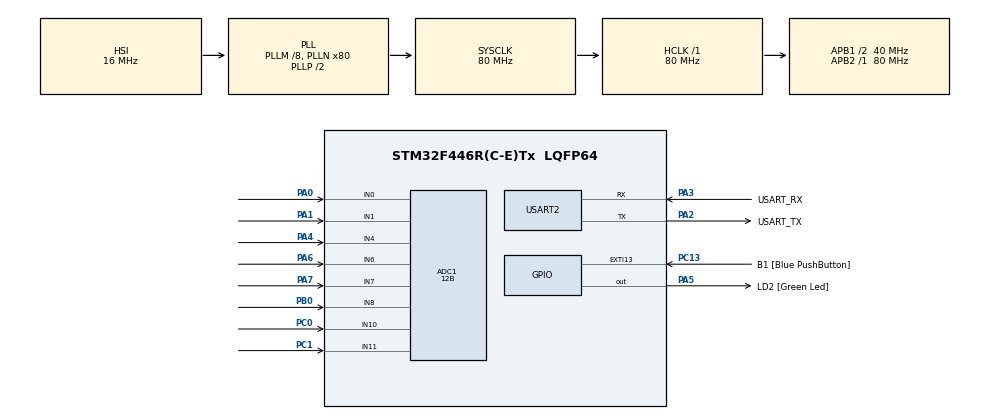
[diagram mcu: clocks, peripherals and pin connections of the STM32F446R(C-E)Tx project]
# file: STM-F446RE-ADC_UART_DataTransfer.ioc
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ADC1.Channel-0\#ChannelRegularConversion=ADC_CHANNEL_0
ADC1.Channel-1\#ChannelRegularConversion=ADC_CHANNEL_1
ADC1.Channel-2\#ChannelRegularConversion=ADC_CHANNEL_4
ADC1.Channel-3\#ChannelRegularConversion=ADC_CHANNEL_6
ADC1.Channel-4\#ChannelRegularConversion=ADC_CHANNEL_7
ADC1.Channel-5\#ChannelRegularConversion=ADC_CHANNEL_8
ADC1.Channel-6\#ChannelRegularConversion=ADC_CHANNEL_10
ADC1.Channel-7\#ChannelRegularConversion=ADC_CHANNEL_11
ADC1.ClockPrescaler=ADC_CLOCK_SYNC_PCLK_DIV4
ADC1.ContinuousConvMode=ENABLE
ADC1.DMAContinuousRequests=ENABLE
ADC1.EOCSelection=ADC_EOC_SINGLE_CONV
ADC1.NbrOfConversion=8
ADC1.NbrOfConversionFlag=1
ADC1.Rank-0\#ChannelRegularConversion=1
ADC1.Rank-1\#ChannelRegularConversion=2
ADC1.Rank-2\#ChannelRegularConversion=3
ADC1.Rank-3\#ChannelRegularConversion=4
ADC1.Rank-4\#ChannelRegularConversion=5
ADC1.Rank-5\#ChannelRegularConversion=6
ADC1.Rank-6\#ChannelRegularConversion=7
ADC1.Rank-7\#ChannelRegularConversion=8
ADC1.Resolution=ADC_RESOLUTION_12B
ADC1.SamplingTime-0\#ChannelRegularConversion=ADC_SAMPLETIME_28CYCLES
ADC1.SamplingTime-1\#ChannelRegularConversion=ADC_SAMPLETIME_28CYCLES
ADC1.SamplingTime-2\#ChannelRegularConversion=ADC_SAMPLETIME_28CYCLES
ADC1.SamplingTime-3\#ChannelRegularConversion=ADC_SAMPLETIME_28CYCLES
ADC1.SamplingTime-4\#ChannelRegularConversion=ADC_SAMPLETIME_28CYCLES
ADC1.SamplingTime-5\#ChannelRegularConversion=ADC_SAMPLETIME_28CYCLES
ADC1.SamplingTime-6\#ChannelRegularConversion=ADC_SAMPLETIME_28CYCLES
ADC1.SamplingTime-7\#ChannelRegularConversion=ADC_SAMPLETIME_28CYCLES
ADC1.master=1
Dma.ADC1.0.Direction=DMA_PERIPH_TO_MEMORY
Dma.ADC1.0.FIFOMode=DMA_FIFOMODE_DISABLE
Dma.ADC1.0.Instance=DMA2_Stream0
Dma.ADC1.0.MemDataAlignment=DMA_MDATAALIGN_HALFWORD
Dma.ADC1.0.MemInc=DMA_MINC_ENABLE
Dma.ADC1.0.Mode=DMA_CIRCULAR
Dma.ADC1.0.PeriphDataAlignment=DMA_PDATAALIGN_HALFWORD
Dma.ADC1.0.PeriphInc=DMA_PINC_DISABLE
Dma.ADC1.0.Priority=DMA_PRIORITY_LOW
Dma.Request0=ADC1
Mcu.Family=STM32F4
Mcu.Name=STM32F446R(C-E)Tx
Mcu.Package=LQFP64
NVIC.ADC_IRQn=true\:0\:0\:false\:false\:true\:true\:true\:true
NVIC.DMA2_Stream0_IRQn=true\:0\:0\:false\:false\:true\:false\:true\:true
NVIC.PriorityGroup=NVIC_PRIORITYGROUP_0
PA0-WKUP.Signal=ADCx_IN0
PA1.Signal=ADCx_IN1
PA13.GPIO_Label=TMS
PA13.Mode=Serial_Wire
PA13.Signal=SYS_JTMS-SWDIO
PA14.GPIO_Label=TCK
PA14.Mode=Serial_Wire
PA14.Signal=SYS_JTCK-SWCLK
PA2.GPIO_Label=USART_TX
PA2.Mode=Asynchronous
PA2.Signal=USART2_TX
PA3.GPIO_Label=USART_RX
PA3.Mode=Asynchronous
PA3.Signal=USART2_RX
PA4.Signal=ADCx_IN4
PA5.GPIO_Label=LD2 [Green Led]
PA5.Signal=GPIO_Output
PA6.Signal=ADCx_IN6
PA7.Signal=ADCx_IN7
PB0.Signal=ADCx_IN8
PB3.GPIO_Label=SWO
PB3.Signal=SYS_JTDO-SWO
PC0.Signal=ADCx_IN10
PC1.Signal=ADCx_IN11
PC13.GPIO_Label=B1 [Blue PushButton]
PC13.GPIO_ModeDefaultEXTI=GPIO_MODE_IT_FALLING
PC13.Signal=GPXTI13
PC14-OSC32_IN.Mode=LSE-External-Oscillator
PC14-OSC32_IN.Signal=RCC_OSC32_IN
PC15-OSC32_OUT.Mode=LSE-External-Oscillator
PC15-OSC32_OUT.Signal=RCC_OSC32_OUT
PH0-OSC_IN.Mode=HSE-External-Oscillator
PH0-OSC_IN.Signal=RCC_OSC_IN
PH1-OSC_OUT.Mode=HSE-External-Oscillator
PH1-OSC_OUT.Signal=RCC_OSC_OUT
ProjectManager.HeapSize=0x200
ProjectManager.StackSize=0x400
ProjectManager.TargetToolchain=Makefile
RCC.48MHZClocksFreq_Value=84000000
RCC.AHBFreq_Value=80000000
RCC.APB1CLKDivider=RCC_HCLK_DIV2
RCC.APB1Freq_Value=40000000
RCC.APB1TimFreq_Value=80000000
RCC.APB2Freq_Value=80000000
RCC.APB2TimFreq_Value=80000000
RCC.CortexFreq_Value=80000000
RCC.FLatency-AdvancedSettings=FLASH_LATENCY_2
RCC.HCLKFreq_Value=80000000
RCC.HSE_VALUE=8000000
RCC.HSI_VALUE=16000000
RCC.PLLM=8
RCC.PLLN=80
RCC.SYSCLKFreq_VALUE=80000000
RCC.SYSCLKSource=RCC_SYSCLKSOURCE_PLLCLK
RCC.USBFreq_Value=80000000
RCC.VCOOutputFreq_Value=160000000
SH.ADCx_IN0.0=ADC1_IN0,IN0
SH.ADCx_IN1.0=ADC1_IN1,IN1
SH.ADCx_IN10.0=ADC1_IN10,IN10
SH.ADCx_IN11.0=ADC1_IN11,IN11
SH.ADCx_IN4.0=ADC1_IN4,IN4
SH.ADCx_IN6.0=ADC1_IN6,IN6
SH.ADCx_IN7.0=ADC1_IN7,IN7
SH.ADCx_IN8.0=ADC1_IN8,IN8
USART2.VirtualMode=VM_ASYNC
board=NUCLEO-F446RE

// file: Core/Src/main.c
/* USER CODE BEGIN Header */
/**
  ******************************************************************************
  * @file           : main.c
  * @brief          : Main program body
  ******************************************************************************
  * @attention
  *
  * Copyright (c) 2023 STMicroelectronics.
  * All rights reserved.
  *
  * This software is licensed under terms that can be found in the LICENSE file
  * in the root directory of this software component.
  * If no LICENSE file comes with this software, it is provided AS-IS.
  *
  ******************************************************************************
  */
/* USER CODE END Header */
#include "main.h"

ADC_HandleTypeDef hadc1;
DMA_HandleTypeDef hdma_adc1;

UART_HandleTypeDef huart2;

void SystemClock_Config(void);
static void MX_GPIO_Init(void);
static void MX_DMA_Init(void);
static void MX_ADC1_Init(void);
static void MX_USART2_UART_Init(void);

/* USER CODE BEGIN 0 */
#include <stdio.h>
#include <string.h>

#define NUM_ADC_INPUTS 8

char data[80];
#define ADC_BUF_LEN 4096
uint16_t adc_buf[ADC_BUF_LEN];

/* USER CODE END 0 */

int main(void)
{

  /* MCU Configuration--------------------------------------------------------*/

  /* Reset of all peripherals, Initializes the Flash interface and the Systick. */
  HAL_Init();

  /* Configure the system clock */
  SystemClock_Config();

  /* Initialize all configured peripherals */
  MX_GPIO_Init();
  MX_DMA_Init();
  MX_ADC1_Init();
  MX_USART2_UART_Init();
  /* USER CODE BEGIN 2 */

  HAL_ADC_Start_DMA(&hadc1, (uint32_t*) adc_buf, ADC_BUF_LEN);
  /* USER CODE END 2 */

  /* Infinite loop */
  while (1)
  {

  }
}

void SystemClock_Config(void)
{
  RCC_OscInitTypeDef RCC_OscInitStruct = {0};
  RCC_ClkInitTypeDef RCC_ClkInitStruct = {0};

  /** Configure the main internal regulator output voltage
  */
  __HAL_RCC_PWR_CLK_ENABLE();
  __HAL_PWR_VOLTAGESCALING_CONFIG(PWR_REGULATOR_VOLTAGE_SCALE3);

  /** Initializes the RCC Oscillators according to the specified parameters
  * in the RCC_OscInitTypeDef structure.
  */
  RCC_OscInitStruct.OscillatorType = RCC_OSCILLATORTYPE_HSI;
  RCC_OscInitStruct.HSIState = RCC_HSI_ON;
  RCC_OscInitStruct.HSICalibrationValue = RCC_HSICALIBRATION_DEFAULT;
  RCC_OscInitStruct.PLL.PLLState = RCC_PLL_ON;
  RCC_OscInitStruct.PLL.PLLSource = RCC_PLLSOURCE_HSI;
  RCC_OscInitStruct.PLL.PLLM = 8;
  RCC_OscInitStruct.PLL.PLLN = 80;
  RCC_OscInitStruct.PLL.PLLP = RCC_PLLP_DIV2;
  RCC_OscInitStruct.PLL.PLLQ = 2;
  RCC_OscInitStruct.PLL.PLLR = 2;
  if (HAL_RCC_OscConfig(&RCC_OscInitStruct) != HAL_OK)
  {
    Error_Handler();
  }

  /** Initializes the CPU, AHB and APB buses clocks
  */
  RCC_ClkInitStruct.ClockType = RCC_CLOCKTYPE_HCLK|RCC_CLOCKTYPE_SYSCLK
                              |RCC_CLOCKTYPE_PCLK1|RCC_CLOCKTYPE_PCLK2;
  RCC_ClkInitStruct.SYSCLKSource = RCC_SYSCLKSOURCE_PLLCLK;
  RCC_ClkInitStruct.AHBCLKDivider = RCC_SYSCLK_DIV1;
  RCC_ClkInitStruct.APB1CLKDivider = RCC_HCLK_DIV2;
  RCC_ClkInitStruct.APB2CLKDivider = RCC_HCLK_DIV1;

  if (HAL_RCC_ClockConfig(&RCC_ClkInitStruct, FLASH_LATENCY_2) != HAL_OK)
  {
    Error_Handler();
  }
}

static void MX_ADC1_Init(void)
{

  ADC_ChannelConfTypeDef sConfig = {0};

  /** Configure the global features of the ADC (Clock, Resolution, Data Alignment and number of conversion)
  */
  hadc1.Instance = ADC1;
  hadc1.Init.ClockPrescaler = ADC_CLOCK_SYNC_PCLK_DIV4;
  hadc1.Init.Resolution = ADC_RESOLUTION_12B;
  hadc1.Init.ScanConvMode = ENABLE;
  hadc1.Init.ContinuousConvMode = ENABLE;
  hadc1.Init.DiscontinuousConvMode = DISABLE;
  hadc1.Init.ExternalTrigConvEdge = ADC_EXTERNALTRIGCONVEDGE_NONE;
  hadc1.Init.ExternalTrigConv = ADC_SOFTWARE_START;
  hadc1.Init.DataAlign = ADC_DATAALIGN_RIGHT;
  hadc1.Init.NbrOfConversion = 8;
  hadc1.Init.DMAContinuousRequests = ENABLE;
  hadc1.Init.EOCSelection = ADC_EOC_SINGLE_CONV;
  if (HAL_ADC_Init(&hadc1) != HAL_OK)
  {
    Error_Handler();
  }

  /** Configure for the selected ADC regular channel its corresponding rank in the sequencer and its sample time.
  */
  sConfig.Channel = ADC_CHANNEL_0;
  sConfig.Rank = 1;
  sConfig.SamplingTime = ADC_SAMPLETIME_28CYCLES;
  if (HAL_ADC_ConfigChannel(&hadc1, &sConfig) != HAL_OK)
  {
    Error_Handler();
  }

  /** Configure for the selected ADC regular channel its corresponding rank in the sequencer and its sample time.
  */
  sConfig.Channel = ADC_CHANNEL_1;
  sConfig.Rank = 2;
  if (HAL_ADC_ConfigChannel(&hadc1, &sConfig) != HAL_OK)
  {
    Error_Handler();
  }

  /** Configure for the selected ADC regular channel its corresponding rank in the sequencer and its sample time.
  */
  sConfig.Channel = ADC_CHANNEL_4;
  sConfig.Rank = 3;
  if (HAL_ADC_ConfigChannel(&hadc1, &sConfig) != HAL_OK)
  {
    Error_Handler();
  }

  /** Configure for the selected ADC regular channel its corresponding rank in the sequencer and its sample time.
  */
  sConfig.Channel = ADC_CHANNEL_6;
  sConfig.Rank = 4;
  if (HAL_ADC_ConfigChannel(&hadc1, &sConfig) != HAL_OK)
  {
    Error_Handler();
  }

  /** Configure for the selected ADC regular channel its corresponding rank in the sequencer and its sample time.
  */
  sConfig.Channel = ADC_CHANNEL_7;
  sConfig.Rank = 5;
  if (HAL_ADC_ConfigChannel(&hadc1, &sConfig) != HAL_OK)
  {
    Error_Handler();
  }

  /** Configure for the selected ADC regular channel its corresponding rank in the sequencer and its sample time.
  */
  sConfig.Channel = ADC_CHANNEL_8;
  sConfig.Rank = 6;
  if (HAL_ADC_ConfigChannel(&hadc1, &sConfig) != HAL_OK)
  {
    Error_Handler();
  }

  /** Configure for the selected ADC regular channel its corresponding rank in the sequencer and its sample time.
  */
  sConfig.Channel = ADC_CHANNEL_10;
  sConfig.Rank = 7;
  if (HAL_ADC_ConfigChannel(&hadc1, &sConfig) != HAL_OK)
  {
    Error_Handler();
  }

  /** Configure for the selected ADC regular channel its corresponding rank in the sequencer and its sample time.
  */
  sConfig.Channel = ADC_CHANNEL_11;
  sConfig.Rank = 8;
  if (HAL_ADC_ConfigChannel(&hadc1, &sConfig) != HAL_OK)
  {
    Error_Handler();
  }

}

static void MX_USART2_UART_Init(void)
{

  huart2.Instance = USART2;
  huart2.Init.BaudRate = 115200;
  huart2.Init.WordLength = UART_WORDLENGTH_8B;
  huart2.Init.StopBits = UART_STOPBITS_1;
  huart2.Init.Parity = UART_PARITY_NONE;
  huart2.Init.Mode = UART_MODE_TX_RX;
  huart2.Init.HwFlowCtl = UART_HWCONTROL_NONE;
  huart2.Init.OverSampling = UART_OVERSAMPLING_16;
  if (HAL_UART_Init(&huart2) != HAL_OK)
  {
    Error_Handler();
  }

}

static void MX_DMA_Init(void)
{

  /* DMA controller clock enable */
  __HAL_RCC_DMA2_CLK_ENABLE();

  /* DMA interrupt init */
  /* DMA2_Stream0_IRQn interrupt configuration */
  HAL_NVIC_SetPriority(DMA2_Stream0_IRQn, 0, 0);
  HAL_NVIC_EnableIRQ(DMA2_Stream0_IRQn);

}

static void MX_GPIO_Init(void)
{
  GPIO_InitTypeDef GPIO_InitStruct = {0};

  /* GPIO Ports Clock Enable */
  __HAL_RCC_GPIOC_CLK_ENABLE();
  __HAL_RCC_GPIOH_CLK_ENABLE();
  __HAL_RCC_GPIOA_CLK_ENABLE();
  __HAL_RCC_GPIOB_CLK_ENABLE();

  /*Configure GPIO pin Output Level */
  HAL_GPIO_WritePin(LD2_GPIO_Port, LD2_Pin, GPIO_PIN_RESET);

  /*Configure GPIO pin : B1_Pin */
  GPIO_InitStruct.Pin = B1_Pin;
  GPIO_InitStruct.Mode = GPIO_MODE_IT_FALLING;
  GPIO_InitStruct.Pull = GPIO_NOPULL;
  HAL_GPIO_Init(B1_GPIO_Port, &GPIO_InitStruct);

  /*Configure GPIO pin : LD2_Pin */
  GPIO_InitStruct.Pin = LD2_Pin;
  GPIO_InitStruct.Mode = GPIO_MODE_OUTPUT_PP;
  GPIO_InitStruct.Pull = GPIO_NOPULL;
  GPIO_InitStruct.Speed = GPIO_SPEED_FREQ_LOW;
  HAL_GPIO_Init(LD2_GPIO_Port, &GPIO_InitStruct);

}

/* USER CODE BEGIN 4 */

uint8_t it = 0;

uint32_t it_adc_buf = 0;

void HAL_ADC_ConvCpltCallback(ADC_HandleTypeDef* hadc)
{
  /* Prevent unused argument(s) compilation warning */
  UNUSED(hadc);
  /* NOTE : This function Should not be modified, when the callback is needed,
            the HAL_ADC_ConvCpltCallback could be implemented in the user file
   */

	char temp_data[10];

	it = 0;

	for(it = 0; it < NUM_ADC_INPUTS; it++)
	{

		sprintf(temp_data,"%d %d\r\n",it,adc_buf[it_adc_buf + it]);

		data[0 + it*9] = temp_data[0];
		data[1 + it*9] = temp_data[1];
		data[2 + it*9] = temp_data[2];
		data[3 + it*9] = temp_data[3];
		data[4 + it*9] = temp_data[4];
		data[5 + it*9] = temp_data[5];
		data[6 + it*9] = temp_data[6];
		data[7 + it*9] = temp_data[7];
		data[8 + it*9] = temp_data[8];
		data[9 + it*9] = temp_data[9];
	}

	it_adc_buf += NUM_ADC_INPUTS;

	if(it_adc_buf >= 4096){it_adc_buf = 0;}

    HAL_UART_Transmit(&huart2,(uint8_t *) data, 80,1000);

}

/* USER CODE END 4 */

void Error_Handler(void)
{
  __disable_irq();
  while (1)
  {
  }
}
